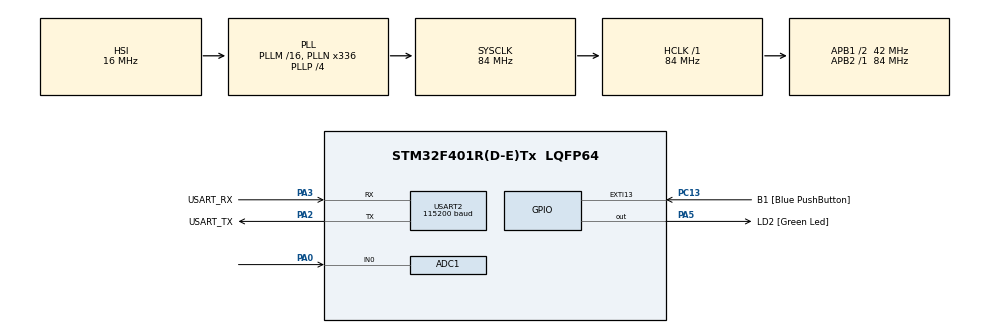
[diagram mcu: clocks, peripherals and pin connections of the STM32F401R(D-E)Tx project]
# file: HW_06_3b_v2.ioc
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ADC1.Channel-0\#ChannelRegularConversion=ADC_CHANNEL_0
ADC1.DMAContinuousRequests=ENABLE
ADC1.ExternalTrigConv=ADC_EXTERNALTRIGCONV_T2_TRGO
ADC1.NbrOfConversionFlag=1
ADC1.Rank-0\#ChannelRegularConversion=1
ADC1.SamplingTime-0\#ChannelRegularConversion=ADC_SAMPLETIME_112CYCLES
ADC1.ScanConvMode=DISABLE
ADC1.master=1
Dma.ADC1.0.Direction=DMA_PERIPH_TO_MEMORY
Dma.ADC1.0.FIFOMode=DMA_FIFOMODE_DISABLE
Dma.ADC1.0.Instance=DMA2_Stream0
Dma.ADC1.0.MemDataAlignment=DMA_MDATAALIGN_HALFWORD
Dma.ADC1.0.MemInc=DMA_MINC_ENABLE
Dma.ADC1.0.Mode=DMA_CIRCULAR
Dma.ADC1.0.PeriphDataAlignment=DMA_PDATAALIGN_HALFWORD
Dma.ADC1.0.PeriphInc=DMA_PINC_DISABLE
Dma.ADC1.0.Priority=DMA_PRIORITY_LOW
Dma.Request0=ADC1
Dma.Request1=USART2_TX
Dma.USART2_TX.1.Direction=DMA_MEMORY_TO_PERIPH
Dma.USART2_TX.1.FIFOMode=DMA_FIFOMODE_DISABLE
Dma.USART2_TX.1.Instance=DMA1_Stream6
Dma.USART2_TX.1.MemDataAlignment=DMA_MDATAALIGN_BYTE
Dma.USART2_TX.1.MemInc=DMA_MINC_ENABLE
Dma.USART2_TX.1.Mode=DMA_NORMAL
Dma.USART2_TX.1.PeriphDataAlignment=DMA_PDATAALIGN_BYTE
Dma.USART2_TX.1.PeriphInc=DMA_PINC_DISABLE
Dma.USART2_TX.1.Priority=DMA_PRIORITY_LOW
Mcu.Family=STM32F4
Mcu.Name=STM32F401R(D-E)Tx
Mcu.Package=LQFP64
NVIC.ADC_IRQn=true\:0\:0\:false\:false\:true\:true\:true\:true
NVIC.DMA1_Stream6_IRQn=true\:0\:0\:false\:false\:true\:false\:true\:true
NVIC.DMA2_Stream0_IRQn=true\:0\:0\:false\:false\:true\:false\:true\:true
NVIC.PriorityGroup=NVIC_PRIORITYGROUP_0
NVIC.USART2_IRQn=true\:0\:0\:false\:false\:true\:true\:true\:true
PA0-WKUP.Signal=SharedAnalog_PA0
PA13.GPIO_Label=TMS
PA13.Mode=Serial_Wire
PA13.Signal=SYS_JTMS-SWDIO
PA14.GPIO_Label=TCK
PA14.Mode=Serial_Wire
PA14.Signal=SYS_JTCK-SWCLK
PA2.GPIO_Label=USART_TX
PA2.GPIO_Mode=GPIO_MODE_AF_PP
PA2.GPIO_PuPd=GPIO_NOPULL
PA2.GPIO_Speed=GPIO_SPEED_FREQ_LOW
PA2.Mode=Asynchronous
PA2.Signal=USART2_TX
PA3.GPIO_Label=USART_RX
PA3.GPIO_Mode=GPIO_MODE_AF_PP
PA3.GPIO_PuPd=GPIO_NOPULL
PA3.GPIO_Speed=GPIO_SPEED_FREQ_LOW
PA3.Mode=Asynchronous
PA3.Signal=USART2_RX
PA5.GPIO_Label=LD2 [Green Led]
PA5.GPIO_Mode=GPIO_MODE_OUTPUT_PP
PA5.GPIO_PuPd=GPIO_NOPULL
PA5.GPIO_Speed=GPIO_SPEED_FREQ_LOW
PA5.Signal=GPIO_Output
PB3.GPIO_Label=SWO
PB3.Signal=SYS_JTDO-SWO
PC13-ANTI_TAMP.GPIO_Label=B1 [Blue PushButton]
PC13-ANTI_TAMP.GPIO_ModeDefaultEXTI=GPIO_MODE_IT_FALLING
PC13-ANTI_TAMP.GPIO_PuPd=GPIO_NOPULL
PC13-ANTI_TAMP.Signal=GPXTI13
PC14-OSC32_IN.Mode=LSE-External-Oscillator
PC14-OSC32_IN.Signal=RCC_OSC32_IN
PC15-OSC32_OUT.Mode=LSE-External-Oscillator
PC15-OSC32_OUT.Signal=RCC_OSC32_OUT
PH0\ -\ OSC_IN.Mode=HSE-External-Clock-Source
PH0\ -\ OSC_IN.Signal=RCC_OSC_IN
PH1\ -\ OSC_OUT.Mode=HSE-External-Clock-Source
PH1\ -\ OSC_OUT.Signal=RCC_OSC_OUT
ProjectManager.HeapSize=0x200
ProjectManager.StackSize=0x400
ProjectManager.TargetToolchain=STM32CubeIDE
RCC.48MHZClocksFreq_Value=48000000
RCC.AHBFreq_Value=84000000
RCC.APB1CLKDivider=RCC_HCLK_DIV2
RCC.APB1Freq_Value=42000000
RCC.APB1TimFreq_Value=84000000
RCC.APB2Freq_Value=84000000
RCC.APB2TimFreq_Value=84000000
RCC.CortexFreq_Value=84000000
RCC.HCLKFreq_Value=84000000
RCC.HSE_VALUE=8000000
RCC.HSI_VALUE=16000000
RCC.PLLN=336
RCC.PLLP=RCC_PLLP_DIV4
RCC.PLLQ=7
RCC.SYSCLKFreq_VALUE=84000000
RCC.SYSCLKSource=RCC_SYSCLKSOURCE_PLLCLK
RCC.VCOOutputFreq_Value=336000000
SH.SharedAnalog_PA0.0=GPIO_Analog
SH.SharedAnalog_PA0.1=ADC1_IN0,IN0
TIM2.Period=10-1
TIM2.Prescaler=8400-1
TIM2.TIM_MasterOutputTrigger=TIM_TRGO_UPDATE
USART2.BaudRate=115200
USART2.VirtualMode=VM_ASYNC
VP_TIM2_VS_ClockSourceINT.Mode=Internal
board=NUCLEO-F401RE

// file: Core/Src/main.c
/* USER CODE BEGIN Header */
/**
  ******************************************************************************
  * @file           : main.c
  * @brief          : Main program body
  ******************************************************************************
  * @attention
  *
  * Copyright (c) 2024 STMicroelectronics.
  * All rights reserved.
  *
  * This software is licensed under terms that can be found in the LICENSE file
  * in the root directory of this software component.
  * If no LICENSE file comes with this software, it is provided AS-IS.
  *
  ******************************************************************************
  */
/* USER CODE END Header */
#include "main.h"

/* USER CODE BEGIN Includes */
#include <string.h>
#include <stdio.h>
#include "math.h"
/* USER CODE END Includes */

/* USER CODE BEGIN PD */
#define BUFFER_SIZE 1000
/* USER CODE END PD */

ADC_HandleTypeDef hadc1;
DMA_HandleTypeDef hdma_adc1;

TIM_HandleTypeDef htim2;

UART_HandleTypeDef huart2;
DMA_HandleTypeDef hdma_usart2_tx;

void SystemClock_Config(void);
static void MX_GPIO_Init(void);
static void MX_DMA_Init(void);
static void MX_USART2_UART_Init(void);
static void MX_ADC1_Init(void);
static void MX_TIM2_Init(void);

/* USER CODE BEGIN 0 */
uint16_t buffer[BUFFER_SIZE];
float avg1=0;
int count=0;

void HAL_ADC_ConvHalfCpltCallback(ADC_HandleTypeDef *hadc){

	float sum = 0;
	for(int i = 0; i < BUFFER_SIZE / 2; i++) {
		sum += buffer[i];
	}

	avg1 = sum / ((float)BUFFER_SIZE / 2);
}

void HAL_ADC_ConvCpltCallback(ADC_HandleTypeDef *hadc){

	float avg = 0;
	for(int i = BUFFER_SIZE/2;i<BUFFER_SIZE;i++){
		avg = avg + buffer[i];
	}
	avg = avg / (BUFFER_SIZE/2);
	avg = (avg + avg1)/2.0f;

	float voltage = avg * 3.3 /4096;
	char string[64];
	//int length = snprintf(string, sizeof(string), "%.3f\r\n", avg); // Transmit raw data

	float LDR = (voltage * 100) / (3.3 - voltage); //LDR in kOhm
	float lux = 10 * pow((100 / LDR), 1.25);
	int length = snprintf(string, sizeof(string), "%d, LDR: %.3f, LUX: %.3f\r\n",count, LDR, lux); //Transmit lux value
	count++;

	while(HAL_DMA_GetState(&hdma_usart2_tx) != HAL_DMA_STATE_READY){
		//wait for dma
	}
	if(HAL_UART_Transmit_DMA(&huart2, string, length) != HAL_OK){
		//err
	}
}

/* USER CODE END 0 */

int main(void)
{

  /* USER CODE BEGIN 1 */
	memset(buffer, 0, BUFFER_SIZE * sizeof(uint16_t));  //initialize the memory to 0
  /* USER CODE END 1 */

  /* MCU Configuration--------------------------------------------------------*/

  /* Reset of all peripherals, Initializes the Flash interface and the Systick. */
  HAL_Init();

  /* Configure the system clock */
  SystemClock_Config();

  /* Initialize all configured peripherals */
  MX_GPIO_Init();
  MX_DMA_Init();
  MX_USART2_UART_Init();
  MX_ADC1_Init();
  MX_TIM2_Init();
  /* USER CODE BEGIN 2 */
  if(HAL_TIM_Base_Start(&htim2) != HAL_OK){
  	  //error_handling
    }
    if(HAL_ADC_Start_DMA(&hadc1, buffer, BUFFER_SIZE) != HAL_OK){
  	  //error_handling
    }
  /* USER CODE END 2 */

  /* Infinite loop */
  while (1)
  {

  }
}

void SystemClock_Config(void)
{
  RCC_OscInitTypeDef RCC_OscInitStruct = {0};
  RCC_ClkInitTypeDef RCC_ClkInitStruct = {0};

  /** Configure the main internal regulator output voltage
  */
  __HAL_RCC_PWR_CLK_ENABLE();
  __HAL_PWR_VOLTAGESCALING_CONFIG(PWR_REGULATOR_VOLTAGE_SCALE2);

  /** Initializes the RCC Oscillators according to the specified parameters
  * in the RCC_OscInitTypeDef structure.
  */
  RCC_OscInitStruct.OscillatorType = RCC_OSCILLATORTYPE_HSI;
  RCC_OscInitStruct.HSIState = RCC_HSI_ON;
  RCC_OscInitStruct.HSICalibrationValue = RCC_HSICALIBRATION_DEFAULT;
  RCC_OscInitStruct.PLL.PLLState = RCC_PLL_ON;
  RCC_OscInitStruct.PLL.PLLSource = RCC_PLLSOURCE_HSI;
  RCC_OscInitStruct.PLL.PLLM = 16;
  RCC_OscInitStruct.PLL.PLLN = 336;
  RCC_OscInitStruct.PLL.PLLP = RCC_PLLP_DIV4;
  RCC_OscInitStruct.PLL.PLLQ = 7;
  if (HAL_RCC_OscConfig(&RCC_OscInitStruct) != HAL_OK)
  {
    Error_Handler();
  }

  /** Initializes the CPU, AHB and APB buses clocks
  */
  RCC_ClkInitStruct.ClockType = RCC_CLOCKTYPE_HCLK|RCC_CLOCKTYPE_SYSCLK
                              |RCC_CLOCKTYPE_PCLK1|RCC_CLOCKTYPE_PCLK2;
  RCC_ClkInitStruct.SYSCLKSource = RCC_SYSCLKSOURCE_PLLCLK;
  RCC_ClkInitStruct.AHBCLKDivider = RCC_SYSCLK_DIV1;
  RCC_ClkInitStruct.APB1CLKDivider = RCC_HCLK_DIV2;
  RCC_ClkInitStruct.APB2CLKDivider = RCC_HCLK_DIV1;

  if (HAL_RCC_ClockConfig(&RCC_ClkInitStruct, FLASH_LATENCY_2) != HAL_OK)
  {
    Error_Handler();
  }
}

static void MX_ADC1_Init(void)
{

  ADC_ChannelConfTypeDef sConfig = {0};

  /** Configure the global features of the ADC (Clock, Resolution, Data Alignment and number of conversion)
  */
  hadc1.Instance = ADC1;
  hadc1.Init.ClockPrescaler = ADC_CLOCK_SYNC_PCLK_DIV4;
  hadc1.Init.Resolution = ADC_RESOLUTION_12B;
  hadc1.Init.ScanConvMode = DISABLE;
  hadc1.Init.ContinuousConvMode = DISABLE;
  hadc1.Init.DiscontinuousConvMode = DISABLE;
  hadc1.Init.ExternalTrigConvEdge = ADC_EXTERNALTRIGCONVEDGE_RISING;
  hadc1.Init.ExternalTrigConv = ADC_EXTERNALTRIGCONV_T2_TRGO;
  hadc1.Init.DataAlign = ADC_DATAALIGN_RIGHT;
  hadc1.Init.NbrOfConversion = 1;
  hadc1.Init.DMAContinuousRequests = ENABLE;
  hadc1.Init.EOCSelection = ADC_EOC_SINGLE_CONV;
  if (HAL_ADC_Init(&hadc1) != HAL_OK)
  {
    Error_Handler();
  }

  /** Configure for the selected ADC regular channel its corresponding rank in the sequencer and its sample time.
  */
  sConfig.Channel = ADC_CHANNEL_0;
  sConfig.Rank = 1;
  sConfig.SamplingTime = ADC_SAMPLETIME_112CYCLES;
  if (HAL_ADC_ConfigChannel(&hadc1, &sConfig) != HAL_OK)
  {
    Error_Handler();
  }

}

static void MX_TIM2_Init(void)
{

  TIM_ClockConfigTypeDef sClockSourceConfig = {0};
  TIM_MasterConfigTypeDef sMasterConfig = {0};

  htim2.Instance = TIM2;
  htim2.Init.Prescaler = 8400-1;
  htim2.Init.CounterMode = TIM_COUNTERMODE_UP;
  htim2.Init.Period = 10-1;
  htim2.Init.ClockDivision = TIM_CLOCKDIVISION_DIV1;
  htim2.Init.AutoReloadPreload = TIM_AUTORELOAD_PRELOAD_DISABLE;
  if (HAL_TIM_Base_Init(&htim2) != HAL_OK)
  {
    Error_Handler();
  }
  sClockSourceConfig.ClockSource = TIM_CLOCKSOURCE_INTERNAL;
  if (HAL_TIM_ConfigClockSource(&htim2, &sClockSourceConfig) != HAL_OK)
  {
    Error_Handler();
  }
  sMasterConfig.MasterOutputTrigger = TIM_TRGO_UPDATE;
  sMasterConfig.MasterSlaveMode = TIM_MASTERSLAVEMODE_DISABLE;
  if (HAL_TIMEx_MasterConfigSynchronization(&htim2, &sMasterConfig) != HAL_OK)
  {
    Error_Handler();
  }

}

static void MX_USART2_UART_Init(void)
{

  huart2.Instance = USART2;
  huart2.Init.BaudRate = 115200;
  huart2.Init.WordLength = UART_WORDLENGTH_8B;
  huart2.Init.StopBits = UART_STOPBITS_1;
  huart2.Init.Parity = UART_PARITY_NONE;
  huart2.Init.Mode = UART_MODE_TX_RX;
  huart2.Init.HwFlowCtl = UART_HWCONTROL_NONE;
  huart2.Init.OverSampling = UART_OVERSAMPLING_16;
  if (HAL_UART_Init(&huart2) != HAL_OK)
  {
    Error_Handler();
  }

}

static void MX_DMA_Init(void)
{

  /* DMA controller clock enable */
  __HAL_RCC_DMA2_CLK_ENABLE();
  __HAL_RCC_DMA1_CLK_ENABLE();

  /* DMA interrupt init */
  /* DMA1_Stream6_IRQn interrupt configuration */
  HAL_NVIC_SetPriority(DMA1_Stream6_IRQn, 0, 0);
  HAL_NVIC_EnableIRQ(DMA1_Stream6_IRQn);
  /* DMA2_Stream0_IRQn interrupt configuration */
  HAL_NVIC_SetPriority(DMA2_Stream0_IRQn, 0, 0);
  HAL_NVIC_EnableIRQ(DMA2_Stream0_IRQn);

}

static void MX_GPIO_Init(void)
{
  GPIO_InitTypeDef GPIO_InitStruct = {0};

  /* GPIO Ports Clock Enable */
  __HAL_RCC_GPIOC_CLK_ENABLE();
  __HAL_RCC_GPIOH_CLK_ENABLE();
  __HAL_RCC_GPIOA_CLK_ENABLE();
  __HAL_RCC_GPIOB_CLK_ENABLE();

  /*Configure GPIO pin Output Level */
  HAL_GPIO_WritePin(LD2_GPIO_Port, LD2_Pin, GPIO_PIN_RESET);

  /*Configure GPIO pin : B1_Pin */
  GPIO_InitStruct.Pin = B1_Pin;
  GPIO_InitStruct.Mode = GPIO_MODE_IT_FALLING;
  GPIO_InitStruct.Pull = GPIO_NOPULL;
  HAL_GPIO_Init(B1_GPIO_Port, &GPIO_InitStruct);

  /*Configure GPIO pin : LD2_Pin */
  GPIO_InitStruct.Pin = LD2_Pin;
  GPIO_InitStruct.Mode = GPIO_MODE_OUTPUT_PP;
  GPIO_InitStruct.Pull = GPIO_NOPULL;
  GPIO_InitStruct.Speed = GPIO_SPEED_FREQ_LOW;
  HAL_GPIO_Init(LD2_GPIO_Port, &GPIO_InitStruct);

}

void Error_Handler(void)
{
  __disable_irq();
  while (1)
  {
  }
}
